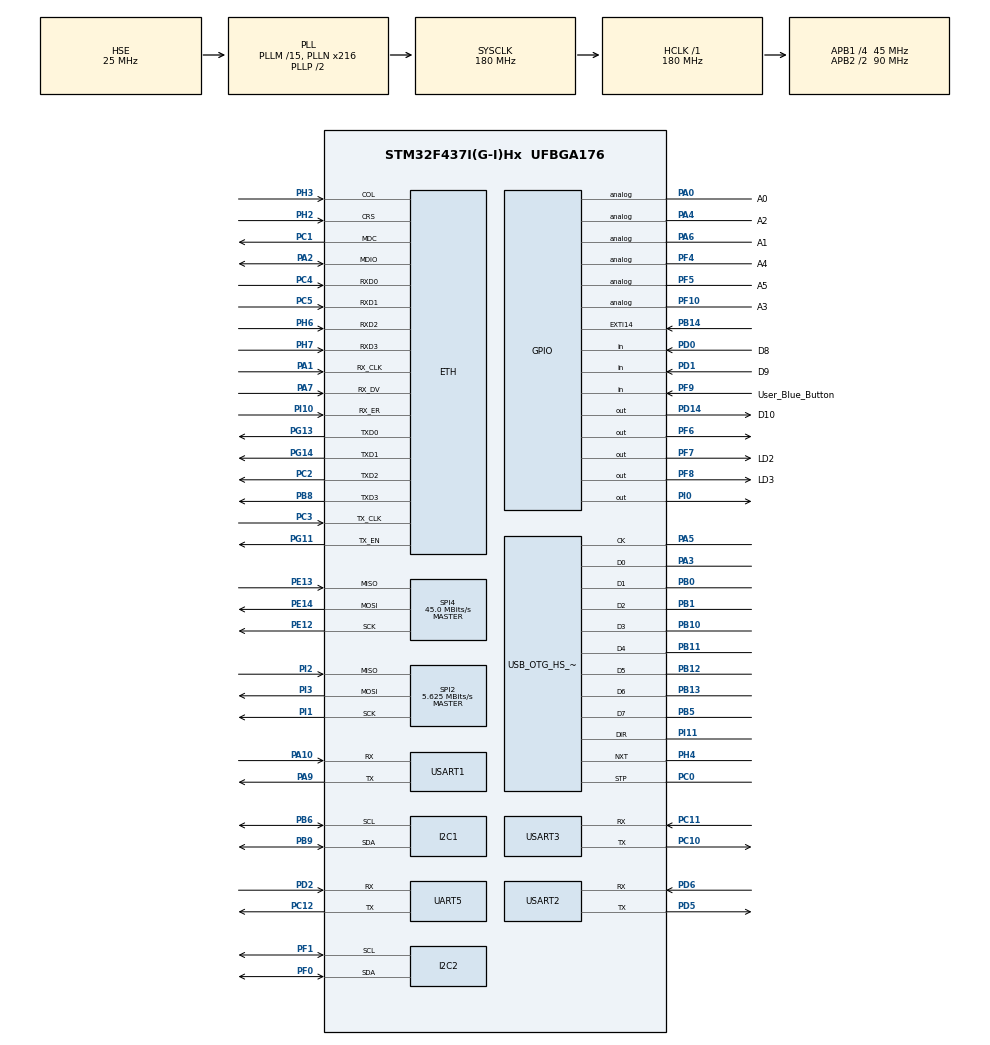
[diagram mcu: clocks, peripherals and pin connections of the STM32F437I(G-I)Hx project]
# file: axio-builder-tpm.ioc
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ETH.MediaInterface=ETH_MEDIA_INTERFACE_MII
FREERTOS.Tasks01=defaultTask,0,128,StartDefaultTask,Default,NULL
LWIP.Version=v2.0.3_Cube
MBEDTLS.MBEDTLS_HMAC_DRBG_C=1
MBEDTLS.MBEDTLS_SHA1_C=1
Mcu.Family=STM32F4
Mcu.Name=STM32F437I(G-I)Hx
Mcu.Package=UFBGA176
NVIC.ETH_IRQn=true\:5\:0\:false\:false\:true\:true\:false
NVIC.PriorityGroup=NVIC_PRIORITYGROUP_4
NVIC.TIM6_DAC_IRQn=true\:0\:0\:false\:false\:true\:false\:false
NVIC.TimeBase=TIM6_DAC_IRQn
NVIC.TimeBaseIP=TIM6
PA0/WKUP.GPIO_Label=A0
PA0/WKUP.Signal=GPIO_Analog
PA1.Mode=MII
PA1.Signal=ETH_RX_CLK
PA10.Mode=Asynchronous
PA10.Signal=USART1_RX
PA13.Mode=JTAG_5_pins
PA13.Signal=SYS_JTMS-SWDIO
PA14.Mode=JTAG_5_pins
PA14.Signal=SYS_JTCK-SWCLK
PA15.Mode=JTAG_5_pins
PA15.Signal=SYS_JTDI
PA2.Mode=MII
PA2.Signal=ETH_MDIO
PA3.Mode=Host_HS
PA3.Signal=USB_OTG_HS_ULPI_D0
PA4.GPIO_Label=A2
PA4.Signal=GPIO_Analog
PA5.Mode=Host_HS
PA5.Signal=USB_OTG_HS_ULPI_CK
PA6.GPIO_Label=A1
PA6.Signal=GPIO_Analog
PA7.Mode=MII
PA7.Signal=ETH_RX_DV
PA9.Mode=Asynchronous
PA9.Signal=USART1_TX
PB0.Mode=Host_HS
PB0.Signal=USB_OTG_HS_ULPI_D1
PB1.Mode=Host_HS
PB1.Signal=USB_OTG_HS_ULPI_D2
PB10.Mode=Host_HS
PB10.Signal=USB_OTG_HS_ULPI_D3
PB11.Mode=Host_HS
PB11.Signal=USB_OTG_HS_ULPI_D4
PB12.Mode=Host_HS
PB12.Signal=USB_OTG_HS_ULPI_D5
PB13.Mode=Host_HS
PB13.Signal=USB_OTG_HS_ULPI_D6
PB14.Signal=GPXTI14
PB3.Mode=JTAG_5_pins
PB3.Signal=SYS_JTDO-SWO
PB4.Mode=JTAG_5_pins
PB4.Signal=SYS_JTRST
PB5.Mode=Host_HS
PB5.Signal=USB_OTG_HS_ULPI_D7
PB6.Mode=I2C
PB6.Signal=I2C1_SCL
PB8.Mode=MII
PB8.Signal=ETH_TXD3
PB9.Mode=I2C
PB9.Signal=I2C1_SDA
PC0.Mode=Host_HS
PC0.Signal=USB_OTG_HS_ULPI_STP
PC1.Mode=MII
PC1.Signal=ETH_MDC
PC10.Mode=Asynchronous
PC10.Signal=USART3_TX
PC11.Mode=Asynchronous
PC11.Signal=USART3_RX
PC12.Mode=Asynchronous
PC12.Signal=UART5_TX
PC14/OSC32_IN.Mode=LSE-External-Oscillator
PC14/OSC32_IN.Signal=RCC_OSC32_IN
PC15/OSC32_OUT.Mode=LSE-External-Oscillator
PC15/OSC32_OUT.Signal=RCC_OSC32_OUT
PC2.Mode=MII
PC2.Signal=ETH_TXD2
PC3.Mode=MII
PC3.Signal=ETH_TX_CLK
PC4.Mode=MII
PC4.Signal=ETH_RXD0
PC5.Mode=MII
PC5.Signal=ETH_RXD1
PD0.GPIO_Label=D8
PD0.Signal=GPIO_Input
PD1.GPIO_Label=D9
PD1.Signal=GPIO_Input
PD14.GPIO_Label=D10
PD14.Signal=GPIO_Output
PD2.Mode=Asynchronous
PD2.Signal=UART5_RX
PD5.Mode=Asynchronous
PD5.Signal=USART2_TX
PD6.Mode=Asynchronous
PD6.Signal=USART2_RX
PE12.Mode=Full_Duplex_Master
PE12.Signal=SPI4_SCK
PE13.Mode=Full_Duplex_Master
PE13.Signal=SPI4_MISO
PE14.Mode=Full_Duplex_Master
PE14.Signal=SPI4_MOSI
PF0.Mode=I2C
PF0.Signal=I2C2_SDA
PF1.Mode=I2C
PF1.Signal=I2C2_SCL
PF10.GPIO_Label=A3
PF10.Signal=GPIO_Analog
PF2.Signal=I2C2_SMBA
PF4.GPIO_Label=A4
PF4.Signal=GPIO_Analog
PF5.GPIO_Label=A5
PF5.Signal=GPIO_Analog
PF6.Signal=GPIO_Output
PF7.GPIO_Label=LD2
PF7.Signal=GPIO_Output
PF8.GPIO_Label=LD3
PF8.Signal=GPIO_Output
PF9.GPIO_Label=User_Blue_Button
PF9.Signal=GPIO_Input
PG11.Mode=MII
PG11.Signal=ETH_TX_EN
PG13.Mode=MII
PG13.Signal=ETH_TXD0
PG14.Mode=MII
PG14.Signal=ETH_TXD1
PH0/OSC_IN.Mode=HSE-External-Oscillator
PH0/OSC_IN.Signal=RCC_OSC_IN
PH1/OSC_OUT.Mode=HSE-External-Oscillator
PH1/OSC_OUT.Signal=RCC_OSC_OUT
PH2.Mode=MII
PH2.Signal=ETH_CRS
PH3.Mode=MII
PH3.Signal=ETH_COL
PH4.Mode=Host_HS
PH4.Signal=USB_OTG_HS_ULPI_NXT
PH6.Mode=MII
PH6.Signal=ETH_RXD2
PH7.Mode=MII
PH7.Signal=ETH_RXD3
PI0.Signal=GPIO_Output
PI1.Mode=Full_Duplex_Master
PI1.Signal=SPI2_SCK
PI10.Mode=Activate Rx Err signal
PI10.Signal=ETH_RX_ER
PI11.Mode=Host_HS
PI11.Signal=USB_OTG_HS_ULPI_DIR
PI2.Mode=Full_Duplex_Master
PI2.Signal=SPI2_MISO
PI3.Mode=Full_Duplex_Master
PI3.Signal=SPI2_MOSI
ProjectManager.HeapSize=0x200
ProjectManager.StackSize=0x400
ProjectManager.TargetToolchain=Makefile
RCC.48MHZClocksFreq_Value=45000000
RCC.AHBFreq_Value=180000000
RCC.APB1CLKDivider=RCC_HCLK_DIV4
RCC.APB1Freq_Value=45000000
RCC.APB1TimFreq_Value=90000000
RCC.APB2CLKDivider=RCC_HCLK_DIV2
RCC.APB2Freq_Value=90000000
RCC.APB2TimFreq_Value=180000000
RCC.CortexFreq_Value=180000000
RCC.HCLKFreq_Value=180000000
RCC.HSE_VALUE=25000000
RCC.HSI_VALUE=16000000
RCC.PLLM=15
RCC.PLLN=216
RCC.PLLQ=8
RCC.PLLSourceVirtual=RCC_PLLSOURCE_HSE
RCC.RCC_RTC_Clock_Source=RCC_RTCCLKSOURCE_LSE
RCC.RCC_RTC_Clock_SourceVirtual=RCC_RTCCLKSOURCE_LSE
RCC.SYSCLKFreq_VALUE=180000000
RCC.SYSCLKSource=RCC_SYSCLKSOURCE_PLLCLK
RCC.VCOOutputFreq_Value=360000000
SPI2.BaudRatePrescaler=SPI_BAUDRATEPRESCALER_8
SPI2.CLKPolarity=SPI_POLARITY_LOW
SPI2.CalculateBaudRate=5.625 MBits/s
SPI2.Direction=SPI_DIRECTION_2LINES
SPI2.Mode=SPI_MODE_MASTER
SPI2.VirtualType=VM_MASTER
SPI4.BaudRatePrescaler=SPI_BAUDRATEPRESCALER_2
SPI4.CalculateBaudRate=45.0 MBits/s
SPI4.Direction=SPI_DIRECTION_2LINES
SPI4.Mode=SPI_MODE_MASTER
SPI4.VirtualType=VM_MASTER
UART5.VirtualMode=Asynchronous
USART1.VirtualMode=VM_ASYNC
USART2.VirtualMode=VM_ASYNC
USART3.VirtualMode=VM_ASYNC
USB_OTG_HS.VirtualMode-Host_HS=Host_HS
VP_CRYP_VS_CRYP.Mode=CRYP_Activate
VP_FREERTOS_VS_ENABLE.Mode=Enabled
VP_HASH_VS_HASH.Mode=HASH_Activate
VP_LWIP_VS_Enabled.Mode=Enabled
VP_MBEDTLS_VS_MBEDTLS.Mode=Enabled
VP_RNG_VS_RNG.Mode=RNG_Activate
VP_RTC_VS_RTC_Activate.Mode=RTC_Enabled
VP_SYS_VS_tim6.Mode=TIM6
board=axio-builder-tpm

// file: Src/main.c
/**
  ******************************************************************************
  * @file           : main.c
  * @brief          : Main program body
  ******************************************************************************
  * This notice applies to any and all portions of this file
  * that are not between comment pairs USER CODE BEGIN and
  * USER CODE END. Other portions of this file, whether
  * inserted by the user or by software development tools
  * are owned by their respective copyright owners.
  *
  * Copyright (c) 2018 STMicroelectronics International N.V.
  * All rights reserved.
  *
  * Redistribution and use in source and binary forms, with or without
  * modification, are permitted, provided that the following conditions are met:
  *
  * 1. Redistribution of source code must retain the above copyright notice,
  *    this list of conditions and the following disclaimer.
  * 2. Redistributions in binary form must reproduce the above copyright notice,
  *    this list of conditions and the following disclaimer in the documentation
  *    and/or other materials provided with the distribution.
  * 3. Neither the name of STMicroelectronics nor the names of other
  *    contributors to this software may be used to endorse or promote products
  *    derived from this software without specific written permission.
  * 4. This software, including modifications and/or derivative works of this
  *    software, must execute solely and exclusively on microcontroller or
  *    microprocessor devices manufactured by or for STMicroelectronics.
  * 5. Redistribution and use of this software other than as permitted under
  *    this license is void and will automatically terminate your rights under
  *    this license.
  *
  * THIS SOFTWARE IS PROVIDED BY STMICROELECTRONICS AND CONTRIBUTORS "AS IS"
  * AND ANY EXPRESS, IMPLIED OR STATUTORY WARRANTIES, INCLUDING, BUT NOT
  * LIMITED TO, THE IMPLIED WARRANTIES OF MERCHANTABILITY, FITNESS FOR A
  * PARTICULAR PURPOSE AND NON-INFRINGEMENT OF THIRD PARTY INTELLECTUAL PROPERTY
  * RIGHTS ARE DISCLAIMED TO THE FULLEST EXTENT PERMITTED BY LAW. IN NO EVENT
  * SHALL STMICROELECTRONICS OR CONTRIBUTORS BE LIABLE FOR ANY DIRECT, INDIRECT,
  * INCIDENTAL, SPECIAL, EXEMPLARY, OR CONSEQUENTIAL DAMAGES (INCLUDING, BUT NOT
  * LIMITED TO, PROCUREMENT OF SUBSTITUTE GOODS OR SERVICES; LOSS OF USE, DATA,
  * OR PROFITS; OR BUSINESS INTERRUPTION) HOWEVER CAUSED AND ON ANY THEORY OF
  * LIABILITY, WHETHER IN CONTRACT, STRICT LIABILITY, OR TORT (INCLUDING
  * NEGLIGENCE OR OTHERWISE) ARISING IN ANY WAY OUT OF THE USE OF THIS SOFTWARE,
  * EVEN IF ADVISED OF THE POSSIBILITY OF SUCH DAMAGE.
  *
  ******************************************************************************
  */
#include "main.h"
#include "stm32f4xx_hal.h"
#include "cmsis_os.h"
#include "mbedtls.h"

/* USER CODE BEGIN Includes */
#include "TisTpmDrv.h"
#include "TpmUtil.h"

/* USER CODE END Includes */

CRYP_HandleTypeDef hcryp;
__ALIGN_BEGIN static const uint8_t pKeyCRYP[24] __ALIGN_END = {
                            0x00,0x00,0x00,0x00,0x00,0x00,0x00,0x00,0x00,0x00,
                            0x00,0x00,0x00,0x00,0x00,0x00,0x00,0x00,0x00,0x00,
                            0x00,0x00,0x00,0x00};

HASH_HandleTypeDef hhash;

I2C_HandleTypeDef hi2c1;
I2C_HandleTypeDef hi2c2;

RNG_HandleTypeDef hrng;

RTC_HandleTypeDef hrtc;

SPI_HandleTypeDef hspi2;
SPI_HandleTypeDef hspi4;

UART_HandleTypeDef huart5;
UART_HandleTypeDef huart1;
UART_HandleTypeDef huart2;
UART_HandleTypeDef huart3;

HCD_HandleTypeDef hhcd_USB_OTG_HS;

osThreadId defaultTaskHandle;

/* USER CODE BEGIN PV */
/* Private variables ---------------------------------------------------------*/

extern uint32_t g_UsingLocality;
/* USER CODE END PV */

void SystemClock_Config(void);
static void MX_GPIO_Init(void);
static void MX_USART1_UART_Init(void);
static void MX_USART3_UART_Init(void);
static void MX_USART2_UART_Init(void);
static void MX_I2C1_Init(void);
static void MX_UART5_Init(void);
static void MX_SPI2_Init(void);
static void MX_USB_OTG_HS_HCD_Init(void);
static void MX_I2C2_Init(void);
static void MX_SPI4_Init(void);
static void MX_CRYP_Init(void);
static void MX_HASH_Init(void);
static void MX_RNG_Init(void);
static void MX_RTC_Init(void);
void StartDefaultTask(void const * argument);

/* USER CODE BEGIN PFP */
/* Private function prototypes -----------------------------------------------*/

/* USER CODE END PFP */

/* USER CODE BEGIN 0 */
int __io_putchar(int ch)
{
    HAL_UART_Transmit(&huart2, (uint8_t *)&ch, 1, 0xFFFF);

    return ch;
}

/* USER CODE END 0 */

int main(void)
{

  /* MCU Configuration----------------------------------------------------------*/

  /* Reset of all peripherals, Initializes the Flash interface and the Systick. */
  HAL_Init();

  /* Configure the system clock */
  SystemClock_Config();

  /* Initialize all configured peripherals */
  MX_GPIO_Init();
  MX_USART1_UART_Init();
  MX_USART3_UART_Init();
  MX_USART2_UART_Init();
  MX_I2C1_Init();
  MX_UART5_Init();
  MX_SPI2_Init();
  MX_USB_OTG_HS_HCD_Init();
  MX_I2C2_Init();
  MX_SPI4_Init();
  MX_CRYP_Init();
  MX_HASH_Init();
  MX_RNG_Init();
  MX_RTC_Init();
  /* USER CODE BEGIN 2 */

  printf("\nHello\n\n");
#ifdef I2CTPM
#ifdef SPECIFIC_CYCLE_DELAY
  TpmAdjustSpinWait(SPECIFIC_CYCLE_DELAY);
#else
  printf("ADD: #define SPECIFIC_CYCLE_DELAY (%d)\r\n", TpmAdjustSpinWait(DETECT_CYCLE_DELAY));
#endif
#endif

  // Make sure we have a TPM, not having one is fatal
  uint32_t retVal = 0;
  if(((retVal = DetectTpm()) != HAL_OK) ||
     (RequestLocality(TIS_LOCALITY_0) != HAL_OK))
  {
      printf("No TPM detected\r\n");
      for(;;);
  }
  g_UsingLocality = (uint32_t)TIS_LOCALITY_0;
  printf("TPM available and ready.\r\n");

  // Pushbutton provisioning
  if(HAL_GPIO_ReadPin(User_Blue_Button_GPIO_Port, User_Blue_Button_Pin) == GPIO_PIN_RESET)
  {
      uint8_t releaseMsg = 0x00;
      printf("Clearing and provisioning TPM...\r\n");
      if((retVal = TpmUtilClearAndProvision()) != TPM_RC_SUCCESS)
      {
          printf("TpmUtilClearAndProvision() failed.\r\n");
          for(;;);
      }
      printf("Clearing and provisioning TPM complete.\r\n");
      while(HAL_GPIO_ReadPin(User_Blue_Button_GPIO_Port, User_Blue_Button_Pin) == GPIO_PIN_RESET)
      {
          if(!releaseMsg)
          {
              printf("Release button to continue...\r\n");
              releaseMsg = 0x01;
          }
          HAL_Delay(10);
      }
  }

  if(TpmUtilLoadPersistedData() != HAL_OK)
  {
      printf("Persisted data invalid.\r\n");
      for(;;);
  }
  if((retVal = RazorClam()) != TPM_RC_SUCCESS)
  {
      printf("RazorClam() failed.\r\n");
      for(;;);
  }

  /* USER CODE END 2 */

  /* Create the thread(s) */
  /* definition and creation of defaultTask */
  osThreadDef(defaultTask, StartDefaultTask, osPriorityNormal, 0, 128);
  defaultTaskHandle = osThreadCreate(osThread(defaultTask), NULL);

  /* Start scheduler */
  osKernelStart();

  /* We should never get here as control is now taken by the scheduler */

  /* Infinite loop */
  while (1)
  {

  }

}

void SystemClock_Config(void)
{

  RCC_OscInitTypeDef RCC_OscInitStruct;
  RCC_ClkInitTypeDef RCC_ClkInitStruct;
  RCC_PeriphCLKInitTypeDef PeriphClkInitStruct;

    /**Configure the main internal regulator output voltage
    */
  __HAL_RCC_PWR_CLK_ENABLE();

  __HAL_PWR_VOLTAGESCALING_CONFIG(PWR_REGULATOR_VOLTAGE_SCALE1);

    /**Initializes the CPU, AHB and APB busses clocks
    */
  RCC_OscInitStruct.OscillatorType = RCC_OSCILLATORTYPE_HSE|RCC_OSCILLATORTYPE_LSE;
  RCC_OscInitStruct.HSEState = RCC_HSE_ON;
  RCC_OscInitStruct.LSEState = RCC_LSE_ON;
  RCC_OscInitStruct.PLL.PLLState = RCC_PLL_ON;
  RCC_OscInitStruct.PLL.PLLSource = RCC_PLLSOURCE_HSE;
  RCC_OscInitStruct.PLL.PLLM = 15;
  RCC_OscInitStruct.PLL.PLLN = 216;
  RCC_OscInitStruct.PLL.PLLP = RCC_PLLP_DIV2;
  RCC_OscInitStruct.PLL.PLLQ = 8;
  if (HAL_RCC_OscConfig(&RCC_OscInitStruct) != HAL_OK)
  {
    _Error_Handler(__FILE__, __LINE__);
  }

    /**Activate the Over-Drive mode
    */
  if (HAL_PWREx_EnableOverDrive() != HAL_OK)
  {
    _Error_Handler(__FILE__, __LINE__);
  }

    /**Initializes the CPU, AHB and APB busses clocks
    */
  RCC_ClkInitStruct.ClockType = RCC_CLOCKTYPE_HCLK|RCC_CLOCKTYPE_SYSCLK
                              |RCC_CLOCKTYPE_PCLK1|RCC_CLOCKTYPE_PCLK2;
  RCC_ClkInitStruct.SYSCLKSource = RCC_SYSCLKSOURCE_PLLCLK;
  RCC_ClkInitStruct.AHBCLKDivider = RCC_SYSCLK_DIV1;
  RCC_ClkInitStruct.APB1CLKDivider = RCC_HCLK_DIV4;
  RCC_ClkInitStruct.APB2CLKDivider = RCC_HCLK_DIV2;

  if (HAL_RCC_ClockConfig(&RCC_ClkInitStruct, FLASH_LATENCY_5) != HAL_OK)
  {
    _Error_Handler(__FILE__, __LINE__);
  }

  PeriphClkInitStruct.PeriphClockSelection = RCC_PERIPHCLK_RTC;
  PeriphClkInitStruct.RTCClockSelection = RCC_RTCCLKSOURCE_LSE;
  if (HAL_RCCEx_PeriphCLKConfig(&PeriphClkInitStruct) != HAL_OK)
  {
    _Error_Handler(__FILE__, __LINE__);
  }

    /**Configure the Systick interrupt time
    */
  HAL_SYSTICK_Config(HAL_RCC_GetHCLKFreq()/1000);

    /**Configure the Systick
    */
  HAL_SYSTICK_CLKSourceConfig(SYSTICK_CLKSOURCE_HCLK);

  /* SysTick_IRQn interrupt configuration */
  HAL_NVIC_SetPriority(SysTick_IRQn, 15, 0);
}

/* CRYP init function */
static void MX_CRYP_Init(void)
{

  hcryp.Instance = CRYP;
  hcryp.Init.DataType = CRYP_DATATYPE_32B;
  hcryp.Init.pKey = (uint8_t *)pKeyCRYP;
  if (HAL_CRYP_Init(&hcryp) != HAL_OK)
  {
    _Error_Handler(__FILE__, __LINE__);
  }

}

/* HASH init function */
static void MX_HASH_Init(void)
{

  hhash.Init.DataType = HASH_DATATYPE_32B;
  if (HAL_HASH_Init(&hhash) != HAL_OK)
  {
    _Error_Handler(__FILE__, __LINE__);
  }

}

/* I2C1 init function */
static void MX_I2C1_Init(void)
{

  hi2c1.Instance = I2C1;
  hi2c1.Init.ClockSpeed = 100000;
  hi2c1.Init.DutyCycle = I2C_DUTYCYCLE_2;
  hi2c1.Init.OwnAddress1 = 0;
  hi2c1.Init.AddressingMode = I2C_ADDRESSINGMODE_7BIT;
  hi2c1.Init.DualAddressMode = I2C_DUALADDRESS_DISABLE;
  hi2c1.Init.OwnAddress2 = 0;
  hi2c1.Init.GeneralCallMode = I2C_GENERALCALL_DISABLE;
  hi2c1.Init.NoStretchMode = I2C_NOSTRETCH_DISABLE;
  if (HAL_I2C_Init(&hi2c1) != HAL_OK)
  {
    _Error_Handler(__FILE__, __LINE__);
  }

}

/* I2C2 init function */
static void MX_I2C2_Init(void)
{

  hi2c2.Instance = I2C2;
  hi2c2.Init.ClockSpeed = 100000;
  hi2c2.Init.DutyCycle = I2C_DUTYCYCLE_2;
  hi2c2.Init.OwnAddress1 = 0;
  hi2c2.Init.AddressingMode = I2C_ADDRESSINGMODE_7BIT;
  hi2c2.Init.DualAddressMode = I2C_DUALADDRESS_DISABLE;
  hi2c2.Init.OwnAddress2 = 0;
  hi2c2.Init.GeneralCallMode = I2C_GENERALCALL_DISABLE;
  hi2c2.Init.NoStretchMode = I2C_NOSTRETCH_DISABLE;
  if (HAL_I2C_Init(&hi2c2) != HAL_OK)
  {
    _Error_Handler(__FILE__, __LINE__);
  }

}

/* RNG init function */
static void MX_RNG_Init(void)
{

  hrng.Instance = RNG;
  if (HAL_RNG_Init(&hrng) != HAL_OK)
  {
    _Error_Handler(__FILE__, __LINE__);
  }

}

/* RTC init function */
static void MX_RTC_Init(void)
{

    /**Initialize RTC Only
    */
  hrtc.Instance = RTC;
  hrtc.Init.HourFormat = RTC_HOURFORMAT_24;
  hrtc.Init.AsynchPrediv = 127;
  hrtc.Init.SynchPrediv = 255;
  hrtc.Init.OutPut = RTC_OUTPUT_DISABLE;
  hrtc.Init.OutPutPolarity = RTC_OUTPUT_POLARITY_HIGH;
  hrtc.Init.OutPutType = RTC_OUTPUT_TYPE_OPENDRAIN;
  if (HAL_RTC_Init(&hrtc) != HAL_OK)
  {
    _Error_Handler(__FILE__, __LINE__);
  }

}

/* SPI2 init function */
static void MX_SPI2_Init(void)
{

  /* SPI2 parameter configuration*/
  hspi2.Instance = SPI2;
  hspi2.Init.Mode = SPI_MODE_MASTER;
  hspi2.Init.Direction = SPI_DIRECTION_2LINES;
  hspi2.Init.DataSize = SPI_DATASIZE_8BIT;
  hspi2.Init.CLKPolarity = SPI_POLARITY_LOW;
  hspi2.Init.CLKPhase = SPI_PHASE_1EDGE;
  hspi2.Init.NSS = SPI_NSS_SOFT;
  hspi2.Init.BaudRatePrescaler = SPI_BAUDRATEPRESCALER_8;
  hspi2.Init.FirstBit = SPI_FIRSTBIT_MSB;
  hspi2.Init.TIMode = SPI_TIMODE_DISABLE;
  hspi2.Init.CRCCalculation = SPI_CRCCALCULATION_DISABLE;
  hspi2.Init.CRCPolynomial = 10;
  if (HAL_SPI_Init(&hspi2) != HAL_OK)
  {
    _Error_Handler(__FILE__, __LINE__);
  }

}

/* SPI4 init function */
static void MX_SPI4_Init(void)
{

  /* SPI4 parameter configuration*/
  hspi4.Instance = SPI4;
  hspi4.Init.Mode = SPI_MODE_MASTER;
  hspi4.Init.Direction = SPI_DIRECTION_2LINES;
  hspi4.Init.DataSize = SPI_DATASIZE_8BIT;
  hspi4.Init.CLKPolarity = SPI_POLARITY_LOW;
  hspi4.Init.CLKPhase = SPI_PHASE_1EDGE;
  hspi4.Init.NSS = SPI_NSS_SOFT;
  hspi4.Init.BaudRatePrescaler = SPI_BAUDRATEPRESCALER_2;
  hspi4.Init.FirstBit = SPI_FIRSTBIT_MSB;
  hspi4.Init.TIMode = SPI_TIMODE_DISABLE;
  hspi4.Init.CRCCalculation = SPI_CRCCALCULATION_DISABLE;
  hspi4.Init.CRCPolynomial = 10;
  if (HAL_SPI_Init(&hspi4) != HAL_OK)
  {
    _Error_Handler(__FILE__, __LINE__);
  }

}

/* UART5 init function */
static void MX_UART5_Init(void)
{

  huart5.Instance = UART5;
  huart5.Init.BaudRate = 115200;
  huart5.Init.WordLength = UART_WORDLENGTH_8B;
  huart5.Init.StopBits = UART_STOPBITS_1;
  huart5.Init.Parity = UART_PARITY_NONE;
  huart5.Init.Mode = UART_MODE_TX_RX;
  huart5.Init.HwFlowCtl = UART_HWCONTROL_NONE;
  huart5.Init.OverSampling = UART_OVERSAMPLING_16;
  if (HAL_UART_Init(&huart5) != HAL_OK)
  {
    _Error_Handler(__FILE__, __LINE__);
  }

}

/* USART1 init function */
static void MX_USART1_UART_Init(void)
{

  huart1.Instance = USART1;
  huart1.Init.BaudRate = 115200;
  huart1.Init.WordLength = UART_WORDLENGTH_8B;
  huart1.Init.StopBits = UART_STOPBITS_1;
  huart1.Init.Parity = UART_PARITY_NONE;
  huart1.Init.Mode = UART_MODE_TX_RX;
  huart1.Init.HwFlowCtl = UART_HWCONTROL_NONE;
  huart1.Init.OverSampling = UART_OVERSAMPLING_16;
  if (HAL_UART_Init(&huart1) != HAL_OK)
  {
    _Error_Handler(__FILE__, __LINE__);
  }

}

/* USART2 init function */
static void MX_USART2_UART_Init(void)
{

  huart2.Instance = USART2;
  huart2.Init.BaudRate = 115200;
  huart2.Init.WordLength = UART_WORDLENGTH_8B;
  huart2.Init.StopBits = UART_STOPBITS_1;
  huart2.Init.Parity = UART_PARITY_NONE;
  huart2.Init.Mode = UART_MODE_TX_RX;
  huart2.Init.HwFlowCtl = UART_HWCONTROL_NONE;
  huart2.Init.OverSampling = UART_OVERSAMPLING_16;
  if (HAL_UART_Init(&huart2) != HAL_OK)
  {
    _Error_Handler(__FILE__, __LINE__);
  }

}

/* USART3 init function */
static void MX_USART3_UART_Init(void)
{

  huart3.Instance = USART3;
  huart3.Init.BaudRate = 115200;
  huart3.Init.WordLength = UART_WORDLENGTH_8B;
  huart3.Init.StopBits = UART_STOPBITS_1;
  huart3.Init.Parity = UART_PARITY_NONE;
  huart3.Init.Mode = UART_MODE_TX_RX;
  huart3.Init.HwFlowCtl = UART_HWCONTROL_NONE;
  huart3.Init.OverSampling = UART_OVERSAMPLING_16;
  if (HAL_UART_Init(&huart3) != HAL_OK)
  {
    _Error_Handler(__FILE__, __LINE__);
  }

}

/* USB_OTG_HS init function */
static void MX_USB_OTG_HS_HCD_Init(void)
{

  hhcd_USB_OTG_HS.Instance = USB_OTG_HS;
  hhcd_USB_OTG_HS.Init.Host_channels = 12;
  hhcd_USB_OTG_HS.Init.speed = HCD_SPEED_HIGH;
  hhcd_USB_OTG_HS.Init.dma_enable = DISABLE;
  hhcd_USB_OTG_HS.Init.phy_itface = USB_OTG_ULPI_PHY;
  hhcd_USB_OTG_HS.Init.Sof_enable = DISABLE;
  hhcd_USB_OTG_HS.Init.low_power_enable = DISABLE;
  hhcd_USB_OTG_HS.Init.vbus_sensing_enable = DISABLE;
  hhcd_USB_OTG_HS.Init.use_external_vbus = ENABLE;
  if (HAL_HCD_Init(&hhcd_USB_OTG_HS) != HAL_OK)
  {
    _Error_Handler(__FILE__, __LINE__);
  }

}

/** Configure pins as
        * Analog
        * Input
        * Output
        * EVENT_OUT
        * EXTI
*/
static void MX_GPIO_Init(void)
{

  GPIO_InitTypeDef GPIO_InitStruct;

  /* GPIO Ports Clock Enable */
  __HAL_RCC_GPIOB_CLK_ENABLE();
  __HAL_RCC_GPIOG_CLK_ENABLE();
  __HAL_RCC_GPIOC_CLK_ENABLE();
  __HAL_RCC_GPIOA_CLK_ENABLE();
  __HAL_RCC_GPIOD_CLK_ENABLE();
  __HAL_RCC_GPIOI_CLK_ENABLE();
  __HAL_RCC_GPIOF_CLK_ENABLE();
  __HAL_RCC_GPIOH_CLK_ENABLE();
  __HAL_RCC_GPIOE_CLK_ENABLE();

  /*Configure GPIO pin Output Level */
  HAL_GPIO_WritePin(GPIOI, GPIO_PIN_0, GPIO_PIN_RESET);

  /*Configure GPIO pin Output Level */
  HAL_GPIO_WritePin(GPIOF, LD2_Pin|GPIO_PIN_6|LD3_Pin, GPIO_PIN_RESET);

  /*Configure GPIO pin Output Level */
  HAL_GPIO_WritePin(D10_GPIO_Port, D10_Pin, GPIO_PIN_RESET);

  /*Configure GPIO pins : D8_Pin D9_Pin */
  GPIO_InitStruct.Pin = D8_Pin|D9_Pin;
  GPIO_InitStruct.Mode = GPIO_MODE_INPUT;
  GPIO_InitStruct.Pull = GPIO_NOPULL;
  HAL_GPIO_Init(GPIOD, &GPIO_InitStruct);

  /*Configure GPIO pin : PI0 */
  GPIO_InitStruct.Pin = GPIO_PIN_0;
  GPIO_InitStruct.Mode = GPIO_MODE_OUTPUT_PP;
  GPIO_InitStruct.Pull = GPIO_NOPULL;
  GPIO_InitStruct.Speed = GPIO_SPEED_FREQ_LOW;
  HAL_GPIO_Init(GPIOI, &GPIO_InitStruct);

  /*Configure GPIO pins : A4_Pin A5_Pin A3_Pin */
  GPIO_InitStruct.Pin = A4_Pin|A5_Pin|A3_Pin;
  GPIO_InitStruct.Mode = GPIO_MODE_ANALOG;
  GPIO_InitStruct.Pull = GPIO_NOPULL;
  HAL_GPIO_Init(GPIOF, &GPIO_InitStruct);

  /*Configure GPIO pins : LD2_Pin PF6 LD3_Pin */
  GPIO_InitStruct.Pin = LD2_Pin|GPIO_PIN_6|LD3_Pin;
  GPIO_InitStruct.Mode = GPIO_MODE_OUTPUT_PP;
  GPIO_InitStruct.Pull = GPIO_NOPULL;
  GPIO_InitStruct.Speed = GPIO_SPEED_FREQ_LOW;
  HAL_GPIO_Init(GPIOF, &GPIO_InitStruct);

  /*Configure GPIO pin : User_Blue_Button_Pin */
  GPIO_InitStruct.Pin = User_Blue_Button_Pin;
  GPIO_InitStruct.Mode = GPIO_MODE_INPUT;
  GPIO_InitStruct.Pull = GPIO_NOPULL;
  HAL_GPIO_Init(User_Blue_Button_GPIO_Port, &GPIO_InitStruct);

  /*Configure GPIO pin : D10_Pin */
  GPIO_InitStruct.Pin = D10_Pin;
  GPIO_InitStruct.Mode = GPIO_MODE_OUTPUT_PP;
  GPIO_InitStruct.Pull = GPIO_NOPULL;
  GPIO_InitStruct.Speed = GPIO_SPEED_FREQ_LOW;
  HAL_GPIO_Init(D10_GPIO_Port, &GPIO_InitStruct);

  /*Configure GPIO pins : A0_Pin A2_Pin A1_Pin */
  GPIO_InitStruct.Pin = A0_Pin|A2_Pin|A1_Pin;
  GPIO_InitStruct.Mode = GPIO_MODE_ANALOG;
  GPIO_InitStruct.Pull = GPIO_NOPULL;
  HAL_GPIO_Init(GPIOA, &GPIO_InitStruct);

  /*Configure GPIO pin : PB14 */
  GPIO_InitStruct.Pin = GPIO_PIN_14;
  GPIO_InitStruct.Mode = GPIO_MODE_IT_RISING;
  GPIO_InitStruct.Pull = GPIO_NOPULL;
  HAL_GPIO_Init(GPIOB, &GPIO_InitStruct);

}

void StartDefaultTask(void const * argument)
{
  /* MX_LWIP_Init() is generated within mbedtls_net_init() function in net_cockets.c file */
  /* Up to user to call mbedtls_net_init() function in MBEDTLS initialization step */

  /* Up to user define the empty MX_MBEDTLS_Init() function located in mbedtls.c file */
  MX_MBEDTLS_Init();

  for(;;)
  {
    osDelay(1);
  }
}

void HAL_TIM_PeriodElapsedCallback(TIM_HandleTypeDef *htim)
{
  if (htim->Instance == TIM6) {
    HAL_IncTick();
  }
}

void _Error_Handler(char *file, int line)
{
  while(1)
  {
  }
}

/************************ (C) COPYRIGHT STMicroelectronics *****END OF FILE****/
